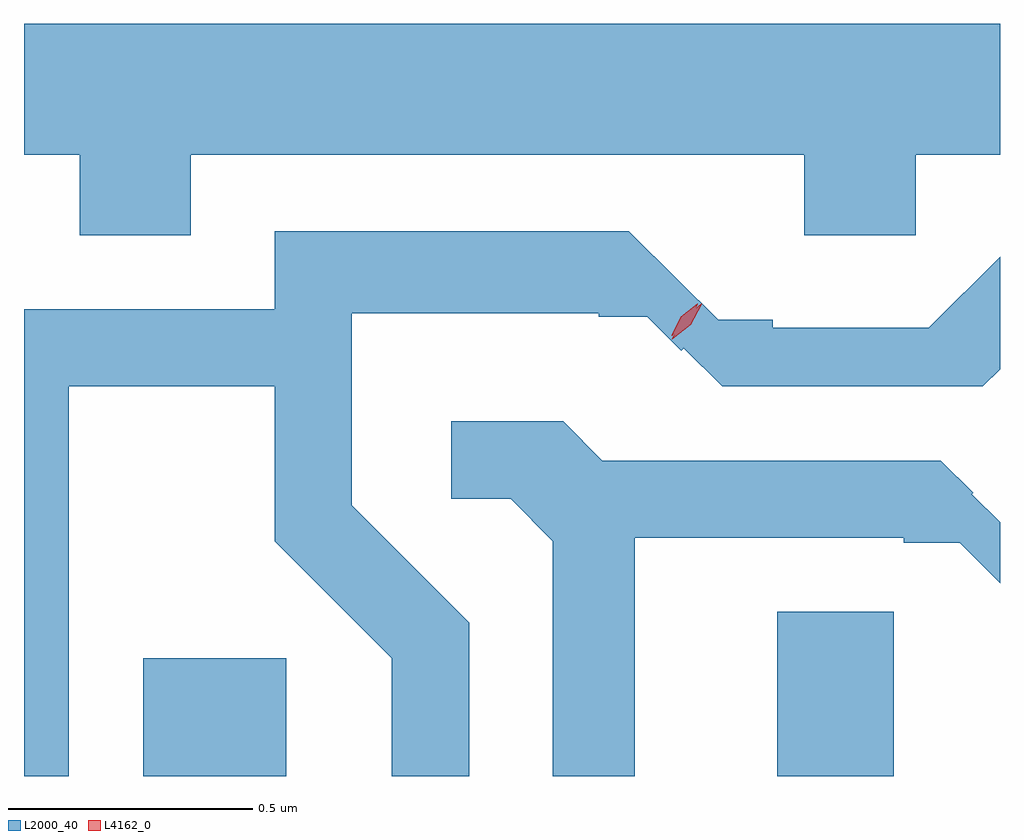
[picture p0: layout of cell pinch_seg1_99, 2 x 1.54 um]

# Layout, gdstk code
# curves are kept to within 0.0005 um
import gdstk
lib = gdstk.Library(unit=1e-6, precision=1e-09)
def R(c, l, rs):  # rectangles x0, y0, x1, y1
    for r in rs: c.add(gdstk.rectangle(r[:2], r[2:], *l))
def P(c, l, *ps):  # polygons
    for p in ps: c.add(gdstk.Polygon(p, *l))
L2000_40 = (2000, 40)
L4162_0 = (4162, 0)

pinch_seg1_99 = lib.new_cell('pinch_seg1_99')
R(pinch_seg1_99, L2000_40, [(1018.501,922.722,1018.794,922.964), (1019.801,922.722,1020.039,923.059)])
P(pinch_seg1_99, L2000_40, [(1018.599,923.996),(1019.856,923.996),(1019.856,923.831),(1020.084,923.831),(1020.084,923.996),(1020.257,923.996),(1020.257,924.264),(1018.257,924.264),(1018.257,923.996),(1018.371,923.996),(1018.371,923.831),(1018.599,923.831)],
  [(1018.349,923.521),(1018.771,923.521),(1018.771,923.204),(1019.011,922.964),(1019.011,922.722),(1019.169,922.722),(1019.169,923.037),(1018.929,923.277),(1018.929,923.671),(1019.435,923.671),(1019.435,923.664),(1019.534,923.664),(1019.604,923.594),(1019.609,923.599),(1019.688,923.521),(1020.222,923.521),(1020.257,923.556),(1020.257,923.787),(1020.111,923.641),(1019.791,923.641),(1019.791,923.657),(1019.68,923.657),(1019.496,923.839),(1018.771,923.839),(1018.771,923.679),(1018.257,923.679),(1018.257,922.722),(1018.349,922.722)],
  [(1019.509,923.211),(1020.06,923.211),(1020.06,923.2),(1020.175,923.2),(1020.257,923.118),(1020.257,923.242),(1020.199,923.3),(1020.202,923.303),(1020.136,923.369),(1019.442,923.369),(1019.362,923.449),(1019.133,923.449),(1019.133,923.291),(1019.254,923.291),(1019.341,923.204),(1019.341,922.722),(1019.509,922.722)])
P(pinch_seg1_99, L4162_0, [(1019.584,923.625),(1019.584,923.626),(1019.603,923.664),(1019.637,923.69),(1019.638,923.69),(1019.638,923.689),(1019.618,923.651),(1019.585,923.625)],
  [(1019.584,923.618),(1019.584,923.618),(1019.608,923.66),(1019.645,923.69),(1019.646,923.69),(1019.646,923.689),(1019.623,923.647),(1019.585,923.618)])

lib.write_gds('pinch_seg1_99.gds')
